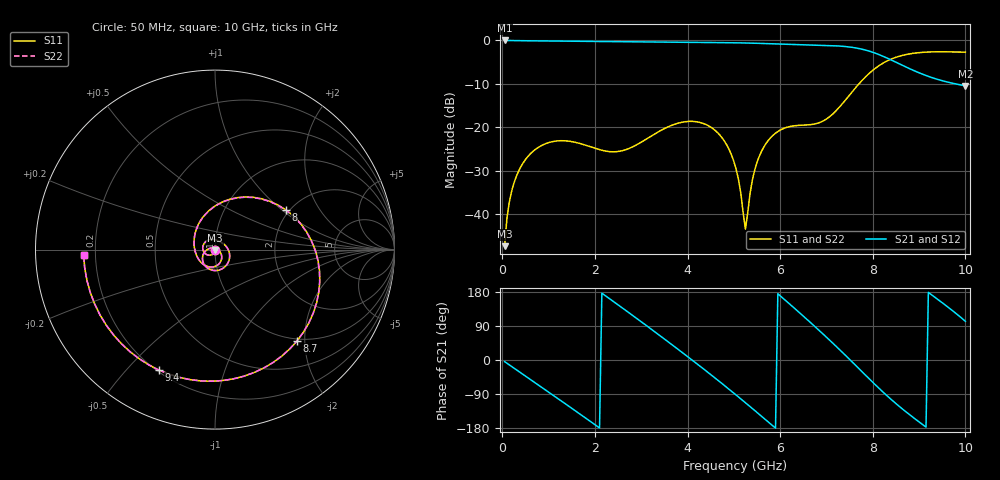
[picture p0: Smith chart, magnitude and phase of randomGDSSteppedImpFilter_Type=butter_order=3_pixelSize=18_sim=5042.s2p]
! freq	dB(S11)	phase(S11)	dB(S12)	phase(S12)
!  dB(S21)	phase(S21)	dB(S22)	phase(S22)
!S-par simulation data
#  GHz  S  DB  R 50
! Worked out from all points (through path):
!   200 points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, 50 MHz to 10 GHz, reference 50 ohm
!   highest |S21| = -0.01 dB at 50 MHz (marker M1); lowest = -10.5 dB at 10 GHz (marker M2)
!   group delay of S21, straight-line fit = 277 ps
!   lowest |S11| = -47.4 dB at 50 MHz (marker M3), VSWR 1.01, Z = 50 - j0.426 ohm
!   |S11| at or under -10 dB: start of sweep to 7.702 GHz
!   |S22| runs from -47.4 to -2.6 dB; largest |S21 - S12| = 0
!   S11 on the Smith chart (normalised r, x): 50 MHz: 1.00, -0.01; 8 GHz: 1.92, +1.07; 8.7 GHz: 0.96, -1.84; 9.4 GHz: 0.21, -0.62; 10 GHz: 0.15, -0.02
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0.05  -47.41 -88.3  -0.01 -4.3  -0.01 -4.3  -47.41 -88.3
0.2  -34.83 -104.8  -0.04 -17.1  -0.04 -17.1  -34.83 -104.8
0.5  -27.45 -132.6  -0.08 -42.4  -0.08 -42.4  -27.45 -132.6
1.1  -23.29 176.0  -0.13 -93.3  -0.13 -93.3  -23.29 176.0
1.75  -23.98 119.9  -0.19 -148.9  -0.19 -148.9  -23.98 119.8
2.45  -25.65 59.4  -0.26 150.0  -0.26 150.0  -25.65 59.2
2.95  -23.76 15.3  -0.31 105.5  -0.31 105.5  -23.76 15.1
3.4  -20.87 -25.3  -0.36 64.7  -0.36 64.7  -20.88 -25.4
4.2  -18.76 -99.7  -0.46 -9.7  -0.46 -9.7  -18.76 -99.7
4.65  -21.27 -143.8  -0.50 -52.9  -0.50 -52.9  -21.27 -143.9
5.05  -29.70 170.0  -0.55 -92.5  -0.55 -92.5  -29.69 169.5
5.25  -43.48 72.3  -0.59 -112.7  -0.59 -112.7  -43.04 71.8
5.5  -28.11 -33.1  -0.66 -138.3  -0.66 -138.3  -28.08 -32.6
5.9  -21.37 -78.1  -0.80 -179.9  -0.80 -179.9  -21.36 -77.8
6.25  -19.76 -114.2  -0.91 142.9  -0.91 142.9  -19.75 -114.0
6.7  -19.34 -162.6  -1.04 93.9  -1.04 93.9  -19.35 -162.8
7.4  -13.86 106.1  -1.40 13.6  -1.40 13.6  -13.87 105.6
8  -6.88 29.2  -2.73 -58.9  -2.73 -58.9  -6.88 28.9
8.35  -4.52 -11.5  -4.26 -99.0  -4.26 -99.0  -4.52 -11.8
8.7  -3.30 -48.1  -6.04 -135.1  -6.04 -135.1  -3.30 -48.4
9.4  -2.61 -115.0  -8.98 160.3  -8.98 160.3  -2.61 -115.2
10  -2.71 -177.8  -10.47 102.2  -10.47 102.2  -2.70 -177.8
